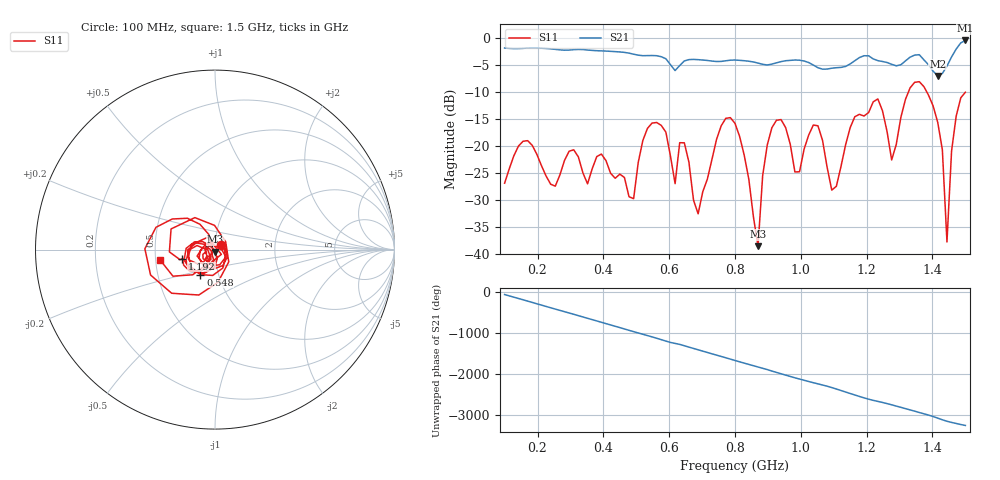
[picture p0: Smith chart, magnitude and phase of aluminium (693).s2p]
! NanoVNA-App
! Date: 2025-09-25 15:00:40
! Start: 100MHz Stop: 1,5GHz Points: 101
! S-Parameter data: F S11 S21 S12 S22
# Hz S RI R 50
!  Frequency  S11_Real  S11_Imag  S21_Real  S21_Imag  S12_Real  S12_Imag  S22_Real  S22_Imag
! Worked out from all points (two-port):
!   101 points, 100 MHz to 1.5 GHz, reference 50 ohm
!   highest |S21| = -0.52 dB at 1.5 GHz (marker M1); lowest = -7.1 dB at 1.416 GHz (marker M2)
!   |S21| within 3 dB of the highest: start of sweep to 575.1 MHz; 1.459 GHz to end of sweep (the widest 2 of 4)
!   lowest |S11| = -38.6 dB at 870 MHz (marker M3), VSWR 1.02, Z = 50.2 - j1.16 ohm
!   |S11| at or under -10 dB: start of sweep to 1.327 GHz; 1.382 GHz to end of sweep
!   S12 and S22 are empty: the file has one direction only
!   S11 on the Smith chart (normalised r, x): 100 MHz: 1.07, +0.06; 548 MHz: 0.82, -0.23; 1.192 GHz: 0.69, -0.07; 1.5 GHz: 0.53, -0.07
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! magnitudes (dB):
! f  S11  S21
! 100 MHz  -27.0  -1.9
! 156 MHz  -19.2  -2.0
! 338 MHz  -25.1  -2.2
! 492 MHz  -29.8  -3.1
! 548 MHz  -15.8  -3.3
! 576 MHz  -16.3  -3.5
! 646 MHz  -19.5  -4.3
! 688 MHz  -32.6  -4.1
! 800 MHz  -15.9  -4.1
! 870 MHz  -38.6  -4.7
! 912 MHz  -16.7  -4.9
! 996 MHz  -24.8  -4.2
! 1.038 GHz  -16.2  -5.1
! 1.094 GHz  -28.2  -5.7
! 1.192 GHz  -14.5  -3.4
! 1.234 GHz  -11.4  -4.3
! 1.276 GHz  -22.7  -4.9
! 1.346 GHz  -8.3  -3.2
! 1.416 GHz  -15.7  -7.1
! 1.444 GHz  -37.8  -5.3
! 1.458 GHz  -21.0  -3.6
! 1.5 GHz  -10.1  -0.5
